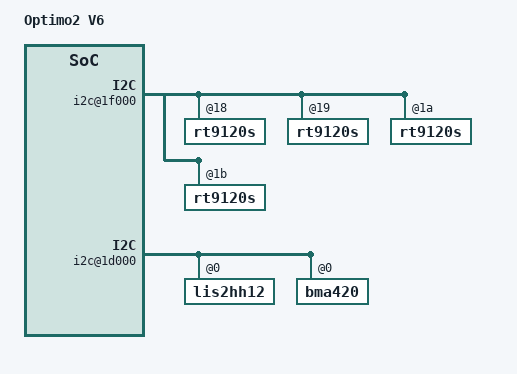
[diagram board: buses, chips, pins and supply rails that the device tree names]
/*
 * Copyright (c) 2022, Sonos, Inc.
 *
 * SPDX-License-Identifier:     GPL-2.0
 *
 * v0	- Optimo2 p1a
 * v1	- Optimo2 p1b - board-only build
 * v2	- Optimo2 p2a - secure build, TI amps
 * v3	- Optimo2 p2a-2 - secure build, Richtek amps
 * v4	- Optimo2 p2b - added BT sync gpio change
 * v5	- Optimo2 p2c - lumissil led, renesas rtc, ntc/adc temp sensors, bosch accelerometer
 * v6	- Optimo2 EVT - i2c temp-sensors removed
 */

/dts-v1/;

#include "optimo_common.dtsi"

/ {
	model = "Optimo2 V6";

        sonos-product-id = <0x03>;

	dolby_fw {
		status = "okay";
	};

	sonos-platform {
		thermal-mgmt {
			   CPU {
                                compatible = "sonos,temp-ncu15";
                                adc-channel = <1>;
                                fault-temperature = <100>;
                                warn-temperature = <95>;
                                temperature-map {
                                        num-ranges = <10>;
                                        // max mV for range, a in range, b in range
                                        //   (linear ax +- b)
                                        //
                                        map-values = <  1500	249	273050
							2000	254	279520
							2400	271	313370
							2750	305	395220
							3000	358	540770
							3250	448	811180
							3500	605	1323700
							3700	883	2324500
							3800	1346	4033300
							4096	1808	5786900 >;
                                };
			};
                        AMP {
                                compatible = "sonos,temp-ncu15";
                                adc-channel = <2>;
                                fault-temperature = <100>;
                                warn-temperature = <95>;
                                temperature-map {
                                        num-ranges = <10>;
                                        // max mV for range, a in range, b in range
                                        //   (linear ax +- b)
                                        //
                                        map-values = <  1500	249	273050
							2000	254	279520
							2400	271	313370
							2750	305	395220
							3000	358	540770
							3250	448	811180
							3500	605	1323700
							3700	883	2324500
							3800	1346	4033300
							4096	1808	5786900 >;
                                };
			};
		};
	};

	thermal-zones {
                /delete-node/ cputhermal;
                /delete-node/ ampthermal;
        };

        soc {
                cbus@ffd00000 {
                        i2c@1f000 {
				/delete-node/ tmp102@49;
				rt9120s@18 {
					status = "okay";
				};
				rt9120s@19 {
					status = "okay";
				};
				rt9120s@1a {
					status = "okay";
				};
				rt9120s@1b {
					status = "okay";
				};
			};
			i2c@1d000 {
				/delete-node/ tmp102@48;
				lis2hh12@0 {
					optimo2-orientation;
				};
                                bma420@0 {
					optimo2-orientation;
				};
			};
		};
		aobus@ff800000 {
			i2c@5000 {
				/delete-node/ lp5562@0 ;
			};
		};
	};
};
